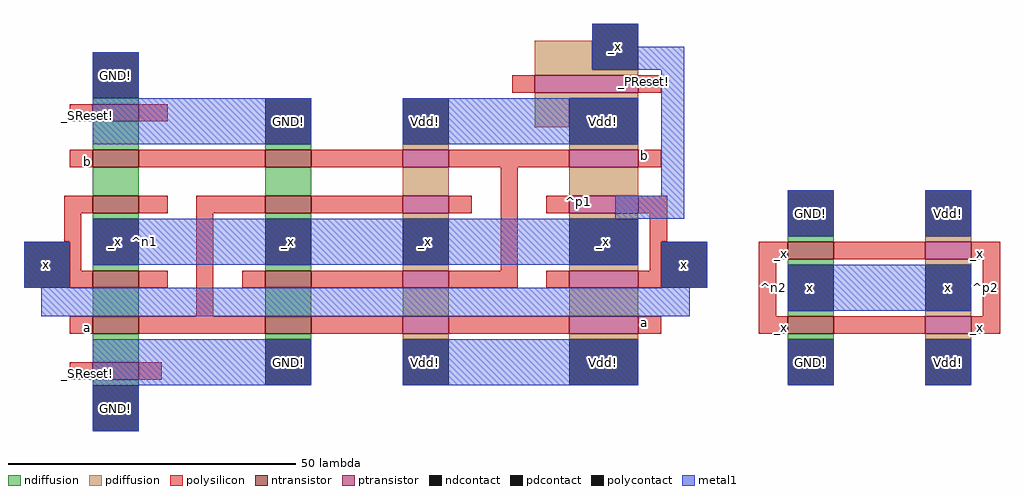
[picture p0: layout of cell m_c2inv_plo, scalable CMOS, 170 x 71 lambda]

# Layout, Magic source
magic
tech scmos
<< ndiffusion >>
rect 54 24 62 25
rect 54 16 62 21
rect 84 16 92 17
rect 54 8 62 13
rect 84 8 92 13
rect 54 4 62 5
rect 54 -5 62 -4
rect 54 -13 62 -8
rect 84 4 92 5
rect 84 -5 92 -4
rect 175 0 183 1
rect 84 -13 92 -8
rect 175 -4 183 -3
rect 175 -13 183 -12
rect 54 -21 62 -16
rect 84 -17 92 -16
rect 54 -25 62 -24
rect 175 -17 183 -16
<< pdiffusion >>
rect 131 30 141 35
rect 131 29 149 30
rect 131 25 149 26
rect 131 20 137 25
rect 108 16 116 17
rect 137 16 149 17
rect 108 8 116 13
rect 108 4 116 5
rect 108 -5 116 -4
rect 137 8 149 13
rect 137 4 149 5
rect 137 -5 149 -4
rect 199 0 207 1
rect 108 -13 116 -8
rect 137 -13 149 -8
rect 199 -4 207 -3
rect 199 -13 207 -12
rect 108 -17 116 -16
rect 137 -17 149 -16
rect 199 -17 207 -16
<< ntransistor >>
rect 54 21 62 24
rect 54 13 62 16
rect 84 13 92 16
rect 54 5 62 8
rect 84 5 92 8
rect 54 -8 62 -5
rect 84 -8 92 -5
rect 175 -3 183 0
rect 54 -16 62 -13
rect 84 -16 92 -13
rect 175 -16 183 -13
rect 54 -24 62 -21
<< ptransistor >>
rect 131 26 149 29
rect 108 13 116 16
rect 137 13 149 16
rect 108 5 116 8
rect 137 5 149 8
rect 108 -8 116 -5
rect 137 -8 149 -5
rect 199 -3 207 0
rect 108 -16 116 -13
rect 137 -16 149 -13
rect 199 -16 207 -13
<< polysilicon >>
rect 127 26 131 29
rect 149 26 153 29
rect 50 21 54 24
rect 62 21 67 24
rect 50 13 54 16
rect 62 13 84 16
rect 92 13 108 16
rect 116 13 137 16
rect 149 13 153 16
rect 49 5 54 8
rect 62 5 67 8
rect 72 5 84 8
rect 92 5 108 8
rect 116 5 120 8
rect 49 0 52 5
rect 50 -5 52 0
rect 50 -8 54 -5
rect 62 -8 67 -5
rect 72 -13 75 5
rect 125 -5 128 13
rect 133 5 137 8
rect 149 5 154 8
rect 151 0 154 5
rect 151 -5 153 0
rect 80 -8 84 -5
rect 92 -8 108 -5
rect 116 -8 128 -5
rect 133 -8 137 -5
rect 149 -8 153 -5
rect 170 -3 175 0
rect 183 -3 199 0
rect 207 -3 212 0
rect 170 -13 173 -3
rect 209 -13 212 -3
rect 50 -16 54 -13
rect 62 -16 84 -13
rect 92 -16 108 -13
rect 116 -16 137 -13
rect 149 -16 153 -13
rect 170 -16 175 -13
rect 183 -16 199 -13
rect 207 -16 212 -13
rect 50 -24 54 -21
rect 62 -24 66 -21
<< ndcontact >>
rect 54 25 62 33
rect 84 17 92 25
rect 54 -4 62 4
rect 84 -4 92 4
rect 175 1 183 9
rect 175 -12 183 -4
rect 84 -25 92 -17
rect 175 -25 183 -17
rect 54 -33 62 -25
<< pdcontact >>
rect 141 30 149 38
rect 108 17 116 25
rect 137 17 149 25
rect 108 -4 116 4
rect 137 -4 149 4
rect 199 1 207 9
rect 199 -12 207 -4
rect 108 -25 116 -17
rect 137 -25 149 -17
rect 199 -25 207 -17
<< polycontact >>
rect 42 -8 50 0
rect 153 -8 161 0
<< metal1 >>
rect 141 34 149 38
rect 54 25 62 33
rect 141 30 157 34
rect 54 17 92 25
rect 108 17 149 25
rect 153 8 157 30
rect 145 4 157 8
rect 42 -8 50 0
rect 54 -4 149 4
rect 175 1 183 9
rect 199 1 207 9
rect 153 -8 161 0
rect 45 -13 158 -8
rect 175 -12 207 -4
rect 54 -25 92 -17
rect 108 -25 149 -17
rect 175 -25 183 -17
rect 199 -25 207 -17
rect 54 -33 62 -25
<< labels >>
rlabel metal1 112 21 112 21 5 Vdd!
rlabel metal1 112 -21 112 -21 1 Vdd!
rlabel polysilicon 53 14 53 14 3 b
rlabel polysilicon 53 -15 53 -15 3 a
rlabel polysilicon 150 -14 150 -14 7 a
rlabel polysilicon 150 15 150 15 7 b
rlabel metal1 143 21 143 21 5 Vdd!
rlabel metal1 143 -21 143 -21 1 Vdd!
rlabel polysilicon 53 22 53 22 1 _SReset!
rlabel metal1 58 -29 58 -29 1 GND!
rlabel polysilicon 53 -23 53 -23 1 _SReset!
rlabel metal1 157 -4 157 -4 1 x
rlabel metal1 46 -4 46 -4 1 x
rlabel metal1 58 0 58 0 1 _x
rlabel metal1 88 0 88 0 1 _x
rlabel metal1 112 0 112 0 1 _x
rlabel metal1 143 0 143 0 1 _x
rlabel metal1 88 -21 88 -21 1 GND!
rlabel metal1 88 21 88 21 5 GND!
rlabel metal1 58 29 58 29 5 GND!
rlabel ndcontact 179 -8 179 -8 1 x
rlabel pdcontact 203 -8 203 -8 1 x
rlabel pdcontact 203 -21 203 -21 1 Vdd!
rlabel pdcontact 203 5 203 5 5 Vdd!
rlabel ndcontact 179 5 179 5 5 GND!
rlabel polysilicon 174 -2 174 -2 1 _x
rlabel polysilicon 174 -15 174 -15 1 _x
rlabel polysilicon 208 -2 208 -2 1 _x
rlabel polysilicon 208 -15 208 -15 1 _x
rlabel space 169 -26 176 10 7 ^n2
rlabel space 206 -26 213 10 3 ^p2
rlabel ndcontact 179 -21 179 -21 1 GND!
rlabel polysilicon 150 28 150 28 7 _PReset!
rlabel metal1 145 34 145 34 5 _x
rlabel space 41 -34 85 34 7 ^n1
rlabel space 115 -26 162 40 3 ^p1
<< end >>
